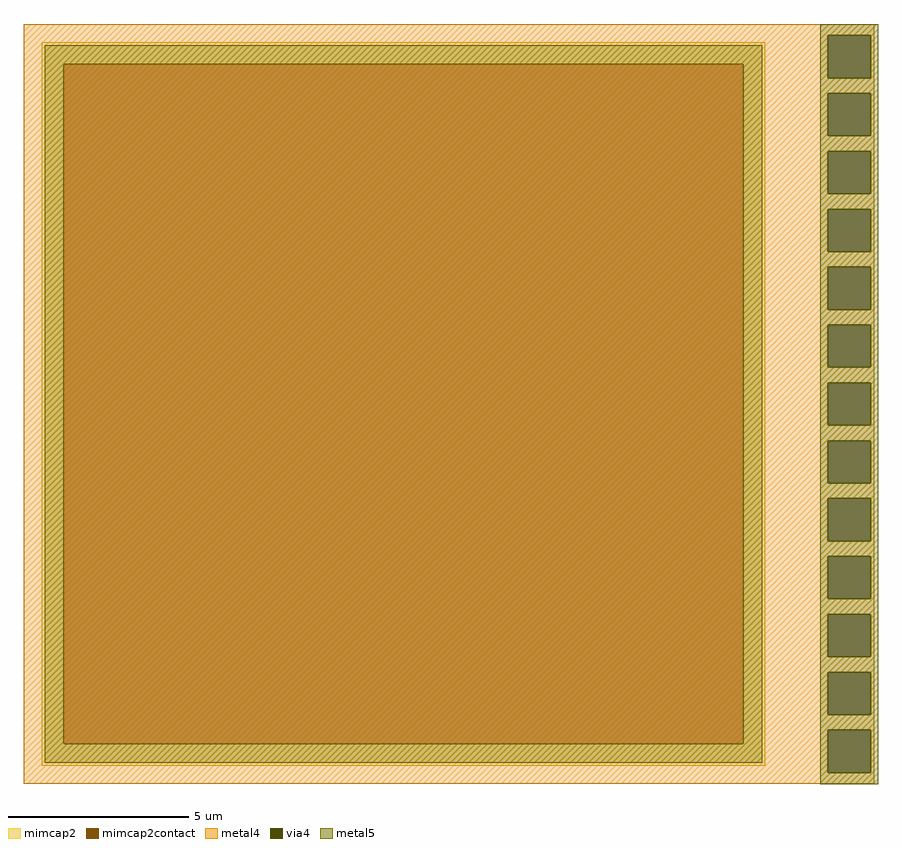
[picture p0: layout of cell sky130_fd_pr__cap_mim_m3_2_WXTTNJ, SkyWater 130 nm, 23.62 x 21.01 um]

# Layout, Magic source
magic
tech sky130A
magscale 1 2
<< metal4 >>
rect -2351 2038 2351 2100
rect -2351 1802 2095 2038
rect 2331 1802 2351 2038
rect -2351 1718 2351 1802
rect -2351 1482 2095 1718
rect 2331 1482 2351 1718
rect -2351 1398 2351 1482
rect -2351 1162 2095 1398
rect 2331 1162 2351 1398
rect -2351 1078 2351 1162
rect -2351 842 2095 1078
rect 2331 842 2351 1078
rect -2351 758 2351 842
rect -2351 522 2095 758
rect 2331 522 2351 758
rect -2351 438 2351 522
rect -2351 202 2095 438
rect 2331 202 2351 438
rect -2351 118 2351 202
rect -2351 -118 2095 118
rect 2331 -118 2351 118
rect -2351 -202 2351 -118
rect -2351 -438 2095 -202
rect 2331 -438 2351 -202
rect -2351 -522 2351 -438
rect -2351 -758 2095 -522
rect 2331 -758 2351 -522
rect -2351 -842 2351 -758
rect -2351 -1078 2095 -842
rect 2331 -1078 2351 -842
rect -2351 -1162 2351 -1078
rect -2351 -1398 2095 -1162
rect 2331 -1398 2351 -1162
rect -2351 -1482 2351 -1398
rect -2351 -1718 2095 -1482
rect 2331 -1718 2351 -1482
rect -2351 -1802 2351 -1718
rect -2351 -2038 2095 -1802
rect 2331 -2038 2351 -1802
rect -2351 -2100 2351 -2038
<< via4 >>
rect 2095 1802 2331 2038
rect 2095 1482 2331 1718
rect 2095 1162 2331 1398
rect 2095 842 2331 1078
rect 2095 522 2331 758
rect 2095 202 2331 438
rect 2095 -118 2331 118
rect 2095 -438 2331 -202
rect 2095 -758 2331 -522
rect 2095 -1078 2331 -842
rect 2095 -1398 2331 -1162
rect 2095 -1718 2331 -1482
rect 2095 -2038 2331 -1802
<< mimcap2 >>
rect -2251 1878 1749 2000
rect -2251 -1878 -2129 1878
rect 1627 -1878 1749 1878
rect -2251 -2000 1749 -1878
<< mimcap2contact >>
rect -2129 -1878 1627 1878
<< metal5 >>
rect 2053 2038 2373 2101
rect -2235 1878 1733 1984
rect -2235 -1878 -2129 1878
rect 1627 -1878 1733 1878
rect -2235 -1984 1733 -1878
rect 2053 1802 2095 2038
rect 2331 1802 2373 2038
rect 2053 1718 2373 1802
rect 2053 1482 2095 1718
rect 2331 1482 2373 1718
rect 2053 1398 2373 1482
rect 2053 1162 2095 1398
rect 2331 1162 2373 1398
rect 2053 1078 2373 1162
rect 2053 842 2095 1078
rect 2331 842 2373 1078
rect 2053 758 2373 842
rect 2053 522 2095 758
rect 2331 522 2373 758
rect 2053 438 2373 522
rect 2053 202 2095 438
rect 2331 202 2373 438
rect 2053 118 2373 202
rect 2053 -118 2095 118
rect 2331 -118 2373 118
rect 2053 -202 2373 -118
rect 2053 -438 2095 -202
rect 2331 -438 2373 -202
rect 2053 -522 2373 -438
rect 2053 -758 2095 -522
rect 2331 -758 2373 -522
rect 2053 -842 2373 -758
rect 2053 -1078 2095 -842
rect 2331 -1078 2373 -842
rect 2053 -1162 2373 -1078
rect 2053 -1398 2095 -1162
rect 2331 -1398 2373 -1162
rect 2053 -1482 2373 -1398
rect 2053 -1718 2095 -1482
rect 2331 -1718 2373 -1482
rect 2053 -1802 2373 -1718
rect 2053 -2038 2095 -1802
rect 2331 -2038 2373 -1802
rect 2053 -2101 2373 -2038
<< properties >>
string FIXED_BBOX -2351 -2100 1849 2100
<< end >>
